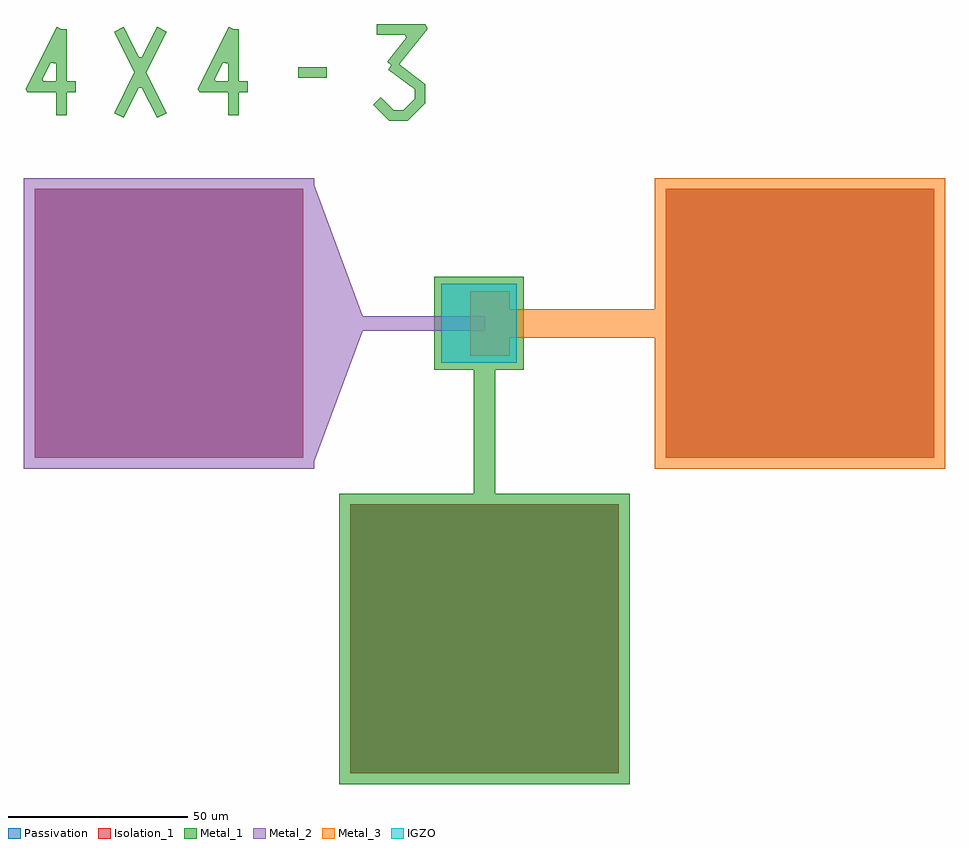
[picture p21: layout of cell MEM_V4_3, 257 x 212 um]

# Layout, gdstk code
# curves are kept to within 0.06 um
import gdstk
lib = gdstk.Library(unit=1e-6, precision=1e-09)
def R(c, l, rs):  # rectangles x0, y0, x1, y1
    for r in rs: c.add(gdstk.rectangle(r[:2], r[2:], *l))
def P(c, l, *ps):  # polygons
    for p in ps: c.add(gdstk.Polygon(p, *l))
Metal_1 = (1, 0)
Isolation_1 = (2, 0)
Metal_2 = (3, 0)
IGZO = (4, 0)
Metal_3 = (5, 0)
Passivation = (6, 0)

mem_v4_3 = lib.new_cell('MEM_V4_3')
R(mem_v4_3, Metal_1, [(87.5,-0.5,168.5,80.5), (76,196.5,84,199.5)])
P(mem_v4_3, Metal_1, [(88,0),(88,80),(125,80),(125,115),(114,115),(114,141),(139,141),(139,115),(131,115),(131,80),(168,80),(168,0)],
  [(101.378,184.5),(96.939,188.939),(99.061,191.061),(102.622,187.5),(105.378,187.5),(108.5,190.622),(108.5,193.25),(101.1,198.8),(101.999,200),(100.83,200.937),(106.204,207.656),(105.798,208.5),(98,208.5),(98,211.5),(111.5,211.5),(112.108,210.234),(104.158,200.297),(111.5,194.75),(111.5,189.378),(106.622,184.5)],
  [(27.342,185.328),(24.657,186.671),(30.322,198),(24.657,209.329),(27.342,210.672),(31.553,202.248),(32.447,202.248),(36.658,210.672),(39.343,209.329),(33.677,198),(39.343,186.671),(36.658,185.328),(32.447,193.752),(31.553,193.752)],
  [(8.5,186),(8.5,192.5),(0.5,192.5),(-0.013,193.33),(3.698,200.752),(7.053,200.752),(4.703,196.053),(5.045,195.5),(8.5,195.5),(8.5,200.41),(7.053,200.752),(3.698,200.752),(8.658,210.671),(9.999,210),(11.5,210),(11.5,195.5),(14,195.5),(14,192.5),(11.5,192.5),(11.5,186)],
  [(56.5,186),(56.5,192.5),(48.5,192.5),(47.987,193.33),(51.698,200.752),(55.053,200.752),(52.703,196.053),(53.045,195.5),(56.5,195.5),(56.5,200.41),(55.053,200.752),(51.698,200.752),(56.658,210.671),(57.999,210),(59.5,210),(59.5,195.5),(62,195.5),(62,192.5),(59.5,192.5),(59.5,186)])
R(mem_v4_3, Isolation_1, [(90.5,2.5,165.5,77.5), (2.5,90.5,77.5,165.5), (178.5,90.5,253.5,165.5)])
R(mem_v4_3, Metal_2, [(-0.5,87.5,80.5,168.5), (0,88,80,168)])
P(mem_v4_3, Metal_2, [(80,88),(80,168),(94,130),(128,130),(128,126),(94,126)])
R(mem_v4_3, IGZO, [(116,117,137,139)])
R(mem_v4_3, Metal_3, [(175.5,87.5,256.5,168.5)])
P(mem_v4_3, Metal_3, [(176,88),(176,124),(135,124),(135,119),(124,119),(124,137),(135,137),(135,132),(176,132),(176,168),(256,168),(256,88)])
R(mem_v4_3, Passivation, [(90.5,2.5,165.5,77.5), (2.5,90.5,77.5,165.5), (178.5,90.5,253.5,165.5)])

lib.write_gds('MEM_V4_3.gds')
